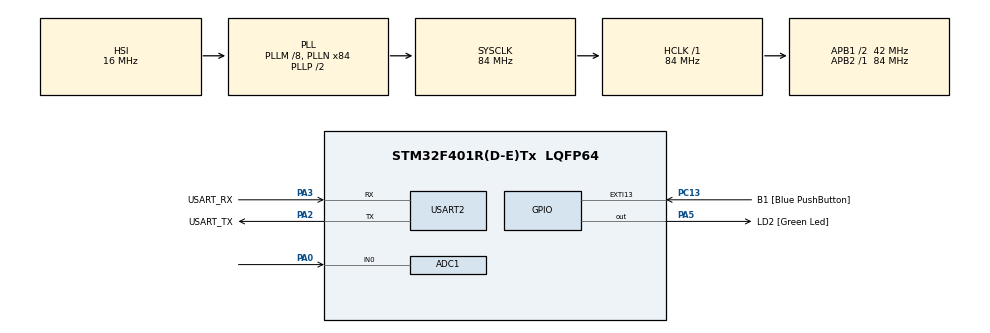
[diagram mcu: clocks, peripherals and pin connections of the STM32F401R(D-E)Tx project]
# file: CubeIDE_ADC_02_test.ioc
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Mcu.Family=STM32F4
PC15-OSC32_OUT.Mode=LSE-External-Oscillator
PA2.GPIO_PuPd=GPIO_NOPULL
Dma.ADC1.0.Instance=DMA2_Stream0
RCC.CortexFreq_Value=84000000
PC13-ANTI_TAMP.GPIO_PuPd=GPIO_NOPULL
ADC1.ContinuousConvMode=ENABLE
PC13-ANTI_TAMP.GPIO_Label=B1 [Blue PushButton]
PA14.GPIO_Label=TCK
PA3.GPIO_PuPd=GPIO_NOPULL
PH1\ -\ OSC_OUT.Mode=HSE-External-Clock-Source
PA2.GPIO_Speed=GPIO_SPEED_FREQ_LOW
ADC1.DiscontinuousConvMode=DISABLE
RCC.APB1CLKDivider=RCC_HCLK_DIV2
PC14-OSC32_IN.Signal=RCC_OSC32_IN
PA3.GPIO_Speed=GPIO_SPEED_FREQ_LOW
ADC1.SamplingTime-2\#ChannelRegularConversion=ADC_SAMPLETIME_3CYCLES
RCC.SYSCLKSource=RCC_SYSCLKSOURCE_PLLCLK
ProjectManager.StackSize=0x400
PA0-WKUP.Signal=ADCx_IN0
PA3.Mode=Asynchronous
PA13.Signal=SYS_JTMS-SWDIO
Dma.ADC1.0.PeriphDataAlignment=DMA_PDATAALIGN_HALFWORD
PH0\ -\ OSC_IN.Mode=HSE-External-Clock-Source
PH0\ -\ OSC_IN.Signal=RCC_OSC_IN
ProjectManager.TargetToolchain=STM32CubeIDE
Dma.ADC1.0.Mode=DMA_CIRCULAR
PA3.GPIO_Mode=GPIO_MODE_AF_PP
RCC.HCLKFreq_Value=84000000
Dma.ADC1.0.Priority=DMA_PRIORITY_LOW
RCC.APB2TimFreq_Value=84000000
Dma.ADC1.0.Direction=DMA_PERIPH_TO_MEMORY
ADC1.Channel-2\#ChannelRegularConversion=ADC_CHANNEL_0
NVIC.DMA2_Stream0_IRQn=true\:0\:0\:false\:false\:true\:false\:true
PC15-OSC32_OUT.Signal=RCC_OSC32_OUT
Dma.ADC1.0.MemDataAlignment=DMA_MDATAALIGN_HALFWORD
RCC.AHBFreq_Value=84000000
PA5.Signal=GPIO_Output
RCC.HSE_VALUE=8000000
PH1\ -\ OSC_OUT.Signal=RCC_OSC_OUT
ADC1.ScanConvMode=DISABLE
board=NUCLEO-F401RE
PC13-ANTI_TAMP.Signal=GPXTI13
RCC.VCOOutputFreq_Value=168000000
RCC.APB2Freq_Value=84000000
ADC1.Rank-2\#ChannelRegularConversion=1
PC14-OSC32_IN.Mode=LSE-External-Oscillator
PA14.Mode=Serial_Wire
PA5.GPIO_PuPd=GPIO_NOPULL
Dma.ADC1.0.PeriphInc=DMA_PINC_DISABLE
SH.ADCx_IN0.0=ADC1_IN0,IN0
ADC1.DMAContinuousRequests=ENABLE
PA13.Mode=Serial_Wire
Mcu.Name=STM32F401R(D-E)Tx
PA2.Signal=USART2_TX
PA13.GPIO_Label=TMS
RCC.48MHZClocksFreq_Value=24000000
PB3.Signal=SYS_JTDO-SWO
RCC.SYSCLKFreq_VALUE=84000000
Mcu.Package=LQFP64
ADC1.master=1
PA5.GPIO_Label=LD2 [Green Led]
USART2.VirtualMode=VM_ASYNC
PC13-ANTI_TAMP.GPIO_ModeDefaultEXTI=GPIO_MODE_IT_FALLING
PA2.GPIO_Label=USART_TX
PA14.Signal=SYS_JTCK-SWCLK
Dma.ADC1.0.MemInc=DMA_MINC_ENABLE
ProjectManager.HeapSize=0x200
RCC.HSI_VALUE=16000000
PA5.GPIO_Speed=GPIO_SPEED_FREQ_LOW
RCC.PLLQ=7
NVIC.PriorityGroup=NVIC_PRIORITYGROUP_0
ADC1.NbrOfConversionFlag=1
RCC.PLLM=8
RCC.PLLN=84
RCC.APB1TimFreq_Value=84000000
PA2.Mode=Asynchronous
Dma.ADC1.0.FIFOMode=DMA_FIFOMODE_DISABLE
Dma.Request0=ADC1
RCC.APB1Freq_Value=42000000
PA5.GPIO_Mode=GPIO_MODE_OUTPUT_PP
PA3.GPIO_Label=USART_RX
PA3.Signal=USART2_RX
PA2.GPIO_Mode=GPIO_MODE_AF_PP
PB3.GPIO_Label=SWO

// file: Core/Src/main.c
/* USER CODE BEGIN Header */
/**
  ******************************************************************************
  * @file           : main.c
  * @brief          : Main program body
  ******************************************************************************
  * @attention
  *
  * <h2><center>&copy; Copyright (c) 2021 STMicroelectronics.
  * All rights reserved.</center></h2>
  *
  * This software component is licensed by ST under BSD 3-Clause license,
  * the "License"; You may not use this file except in compliance with the
  * License. You may obtain a copy of the License at:
  *                        opensource.org/licenses/BSD-3-Clause
  *
  ******************************************************************************
  */
/* USER CODE END Header */
#include "main.h"

/* USER CODE BEGIN Includes */
#include "stdio.h"
#include "string.h"
/* USER CODE END Includes */

/* USER CODE BEGIN PD */
#define ADC_BUF_LEN 4096
/* USER CODE END PD */

ADC_HandleTypeDef hadc1;
DMA_HandleTypeDef hdma_adc1;

UART_HandleTypeDef huart2;

/* USER CODE BEGIN PV */
uint16_t adc_buf[ADC_BUF_LEN];
/* USER CODE END PV */

void SystemClock_Config(void);
static void MX_GPIO_Init(void);
static void MX_DMA_Init(void);
static void MX_USART2_UART_Init(void);
static void MX_ADC1_Init(void);

int main(void)
{
  /* USER CODE BEGIN 1 */
	unsigned char tmp_ch[100];
	uint32_t SS[10];
	uint32_t current_time=0 , prev_time=0 , interval = 10;
  /* USER CODE END 1 */

  /* MCU Configuration--------------------------------------------------------*/

  /* Reset of all peripherals, Initializes the Flash interface and the Systick. */
  HAL_Init();

  /* Configure the system clock */
  SystemClock_Config();

  /* Initialize all configured peripherals */
  MX_GPIO_Init();
  MX_DMA_Init();
  MX_USART2_UART_Init();
  MX_ADC1_Init();
  /* USER CODE BEGIN 2 */
  HAL_ADC_Start_DMA(&hadc1,(uint32_t*)adc_buf, ADC_BUF_LEN);
  /* USER CODE END 2 */

  /* Infinite loop */
  /* USER CODE BEGIN WHILE */
  while (1)
  {
	  current_time = HAL_GetTick();
	  if(current_time-prev_time>=interval)
	  {
		  sprintf(&tmp_ch,"%d  \n",adc_buf[0]);
		  HAL_UART_Transmit(&huart2, tmp_ch,strlen(tmp_ch), 1000);
		  prev_time = current_time;
	  }
    /* USER CODE END WHILE */

  }
}

void SystemClock_Config(void)
{
  RCC_OscInitTypeDef RCC_OscInitStruct = {0};
  RCC_ClkInitTypeDef RCC_ClkInitStruct = {0};

  /** Configure the main internal regulator output voltage
  */
  __HAL_RCC_PWR_CLK_ENABLE();
  __HAL_PWR_VOLTAGESCALING_CONFIG(PWR_REGULATOR_VOLTAGE_SCALE2);
  /** Initializes the RCC Oscillators according to the specified parameters
  * in the RCC_OscInitTypeDef structure.
  */
  RCC_OscInitStruct.OscillatorType = RCC_OSCILLATORTYPE_HSI;
  RCC_OscInitStruct.HSIState = RCC_HSI_ON;
  RCC_OscInitStruct.HSICalibrationValue = RCC_HSICALIBRATION_DEFAULT;
  RCC_OscInitStruct.PLL.PLLState = RCC_PLL_ON;
  RCC_OscInitStruct.PLL.PLLSource = RCC_PLLSOURCE_HSI;
  RCC_OscInitStruct.PLL.PLLM = 8;
  RCC_OscInitStruct.PLL.PLLN = 84;
  RCC_OscInitStruct.PLL.PLLP = RCC_PLLP_DIV2;
  RCC_OscInitStruct.PLL.PLLQ = 7;
  if (HAL_RCC_OscConfig(&RCC_OscInitStruct) != HAL_OK)
  {
    Error_Handler();
  }
  /** Initializes the CPU, AHB and APB buses clocks
  */
  RCC_ClkInitStruct.ClockType = RCC_CLOCKTYPE_HCLK|RCC_CLOCKTYPE_SYSCLK
                              |RCC_CLOCKTYPE_PCLK1|RCC_CLOCKTYPE_PCLK2;
  RCC_ClkInitStruct.SYSCLKSource = RCC_SYSCLKSOURCE_PLLCLK;
  RCC_ClkInitStruct.AHBCLKDivider = RCC_SYSCLK_DIV1;
  RCC_ClkInitStruct.APB1CLKDivider = RCC_HCLK_DIV2;
  RCC_ClkInitStruct.APB2CLKDivider = RCC_HCLK_DIV1;

  if (HAL_RCC_ClockConfig(&RCC_ClkInitStruct, FLASH_LATENCY_2) != HAL_OK)
  {
    Error_Handler();
  }
}

static void MX_ADC1_Init(void)
{

  ADC_ChannelConfTypeDef sConfig = {0};

  /** Configure the global features of the ADC (Clock, Resolution, Data Alignment and number of conversion)
  */
  hadc1.Instance = ADC1;
  hadc1.Init.ClockPrescaler = ADC_CLOCK_SYNC_PCLK_DIV4;
  hadc1.Init.Resolution = ADC_RESOLUTION_12B;
  hadc1.Init.ScanConvMode = DISABLE;
  hadc1.Init.ContinuousConvMode = ENABLE;
  hadc1.Init.DiscontinuousConvMode = DISABLE;
  hadc1.Init.ExternalTrigConvEdge = ADC_EXTERNALTRIGCONVEDGE_NONE;
  hadc1.Init.ExternalTrigConv = ADC_SOFTWARE_START;
  hadc1.Init.DataAlign = ADC_DATAALIGN_RIGHT;
  hadc1.Init.NbrOfConversion = 1;
  hadc1.Init.DMAContinuousRequests = ENABLE;
  hadc1.Init.EOCSelection = ADC_EOC_SINGLE_CONV;
  if (HAL_ADC_Init(&hadc1) != HAL_OK)
  {
    Error_Handler();
  }
  /** Configure for the selected ADC regular channel its corresponding rank in the sequencer and its sample time.
  */
  sConfig.Channel = ADC_CHANNEL_0;
  sConfig.Rank = 1;
  sConfig.SamplingTime = ADC_SAMPLETIME_3CYCLES;
  if (HAL_ADC_ConfigChannel(&hadc1, &sConfig) != HAL_OK)
  {
    Error_Handler();
  }

}

static void MX_USART2_UART_Init(void)
{

  huart2.Instance = USART2;
  huart2.Init.BaudRate = 115200;
  huart2.Init.WordLength = UART_WORDLENGTH_8B;
  huart2.Init.StopBits = UART_STOPBITS_1;
  huart2.Init.Parity = UART_PARITY_NONE;
  huart2.Init.Mode = UART_MODE_TX_RX;
  huart2.Init.HwFlowCtl = UART_HWCONTROL_NONE;
  huart2.Init.OverSampling = UART_OVERSAMPLING_16;
  if (HAL_UART_Init(&huart2) != HAL_OK)
  {
    Error_Handler();
  }

}

static void MX_DMA_Init(void)
{

  /* DMA controller clock enable */
  __HAL_RCC_DMA2_CLK_ENABLE();

  /* DMA interrupt init */
  /* DMA2_Stream0_IRQn interrupt configuration */
  HAL_NVIC_SetPriority(DMA2_Stream0_IRQn, 0, 0);
  HAL_NVIC_EnableIRQ(DMA2_Stream0_IRQn);

}

static void MX_GPIO_Init(void)
{
  GPIO_InitTypeDef GPIO_InitStruct = {0};

  /* GPIO Ports Clock Enable */
  __HAL_RCC_GPIOC_CLK_ENABLE();
  __HAL_RCC_GPIOH_CLK_ENABLE();
  __HAL_RCC_GPIOA_CLK_ENABLE();
  __HAL_RCC_GPIOB_CLK_ENABLE();

  /*Configure GPIO pin Output Level */
  HAL_GPIO_WritePin(LD2_GPIO_Port, LD2_Pin, GPIO_PIN_RESET);

  /*Configure GPIO pin : B1_Pin */
  GPIO_InitStruct.Pin = B1_Pin;
  GPIO_InitStruct.Mode = GPIO_MODE_IT_FALLING;
  GPIO_InitStruct.Pull = GPIO_NOPULL;
  HAL_GPIO_Init(B1_GPIO_Port, &GPIO_InitStruct);

  /*Configure GPIO pin : LD2_Pin */
  GPIO_InitStruct.Pin = LD2_Pin;
  GPIO_InitStruct.Mode = GPIO_MODE_OUTPUT_PP;
  GPIO_InitStruct.Pull = GPIO_NOPULL;
  GPIO_InitStruct.Speed = GPIO_SPEED_FREQ_LOW;
  HAL_GPIO_Init(LD2_GPIO_Port, &GPIO_InitStruct);

}

/* USER CODE BEGIN 4 */
void HAL_ADC_ConvHalfCpltCallback(ADC_HandleTypeDef* hadc){
	HAL_GPIO_WritePin(GPIOA, GPIO_PIN_5, GPIO_PIN_SET);
}
void HAL_ADC_ConvCpltCallback(ADC_HandleTypeDef* hadc){
	HAL_GPIO_WritePin(GPIOA, GPIO_PIN_5, GPIO_PIN_RESET);
}
/* USER CODE END 4 */

void Error_Handler(void)
{
  __disable_irq();
  while (1)
  {
  }
}

/************************ (C) COPYRIGHT STMicroelectronics *****END OF FILE****/
